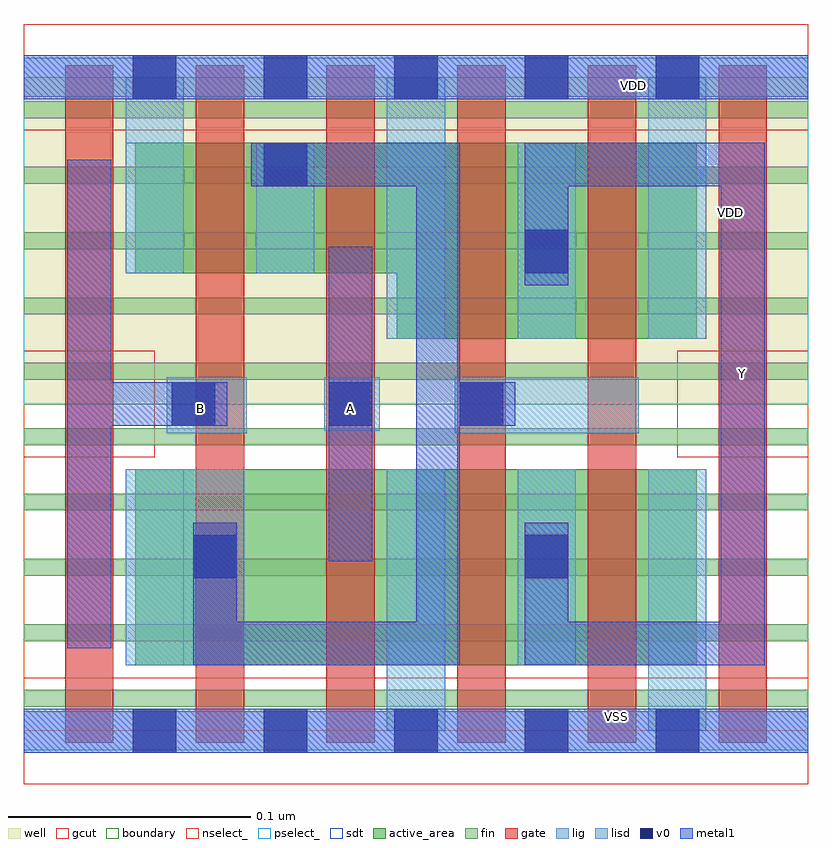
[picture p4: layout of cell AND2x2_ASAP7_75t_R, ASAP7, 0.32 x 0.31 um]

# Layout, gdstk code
import gdstk
lib = gdstk.Library(unit=1e-6, precision=2.5e-10)
def R(c, l, rs):  # rectangles x0, y0, x1, y1
    for r in rs: c.add(gdstk.rectangle(r[:2], r[2:], *l))
def A(c, l, x, y, w, h, nx, ny, dx, dy):  # array of equal rectangles
    R(c, l, [(x+i*dx, y+j*dy, x+i*dx+w, y+j*dy+h) for i in range(nx) for j in range(ny)])
def P(c, l, *ps):  # polygons
    for p in ps: c.add(gdstk.Polygon(p, *l))
well = (1, 0)
fin = (2, 0)
gate = (7, 0)
gcut = (10, 0)
active_area = (11, 0)
nselect_ = (12, 0)
pselect_ = (13, 0)
lig = (16, 0)
lisd = (17, 0)
v0 = (18, 0)
metal1 = (19, 0)
sdt = (88, 0)
boundary = (100, 0)

and2x2_asap7_75t_r = lib.new_cell('AND2x2_ASAP7_75t_R')
R(and2x2_asap7_75t_r, well, [(0,0.135,0.324,0.27)])
A(and2x2_asap7_75t_r, fin, 0, 0.01, 0.324, 0.007, 1, 10, 0, 0.027)
A(and2x2_asap7_75t_r, gate, 0.017, -0.005, 0.02, 0.28, 6, 1, 0.054, 0)
R(and2x2_asap7_75t_r, gcut, [(0,-0.022,0.324,0.022), (0,0.113,0.054,0.157), (0.27,0.113,0.324,0.157), (0,0.248,0.324,0.292)])
R(and2x2_asap7_75t_r, active_area, [(0.046,0.027,0.278,0.108)])
P(and2x2_asap7_75t_r, active_area, [(0.278,0.243),(0.046,0.243),(0.046,0.189),(0.154,0.189),(0.154,0.162),(0.278,0.162)])
R(and2x2_asap7_75t_r, nselect_, [(0,0,0.324,0.135)])
R(and2x2_asap7_75t_r, pselect_, [(0,0.135,0.324,0.27)])
R(and2x2_asap7_75t_r, lig, [(0,-0.008,0.324,0.008), (0.059,0.123,0.092,0.146), (0.178,0.123,0.254,0.146), (0.124,0.124,0.147,0.146), (0,0.262,0.324,0.278)])
R(and2x2_asap7_75t_r, lisd, [(0.15,0,0.174,0.108), (0.258,0,0.282,0.108), (0.042,0.027,0.091,0.108), (0.204,0.027,0.228,0.108), (0.15,0.162,0.174,0.27), (0.204,0.162,0.228,0.243), (0.258,0.162,0.282,0.27), (0.042,0.189,0.066,0.27), (0.096,0.189,0.12,0.243)])
A(and2x2_asap7_75t_r, v0, 0.045, -0.009, 0.018, 0.018, 5, 2, 0.054, 0.27)
R(and2x2_asap7_75t_r, v0, [(0.07,0.063,0.088,0.081), (0.207,0.063,0.225,0.081), (0.061,0.126,0.079,0.144), (0.126,0.126,0.144,0.144), (0.18,0.126,0.198,0.144), (0.207,0.189,0.225,0.207), (0.099,0.225,0.117,0.243)])
R(and2x2_asap7_75t_r, metal1, [(0,-0.009,0.324,0.009), (0.126,0.07,0.144,0.2), (0,0.261,0.324,0.279)])
P(and2x2_asap7_75t_r, metal1, [(0.306,0.243),(0.207,0.243),(0.207,0.184),(0.225,0.184),(0.225,0.225),(0.288,0.225),(0.288,0.045),(0.225,0.045),(0.225,0.086),(0.207,0.086),(0.207,0.027),(0.306,0.027)],
  [(0.203,0.144),(0.18,0.144),(0.18,0.243),(0.094,0.243),(0.094,0.225),(0.162,0.225),(0.162,0.045),(0.088,0.045),(0.088,0.086),(0.07,0.086),(0.07,0.027),(0.18,0.027),(0.18,0.126),(0.203,0.126)],
  [(0.084,0.144),(0.036,0.144),(0.036,0.236),(0.018,0.236),(0.018,0.034),(0.036,0.034),(0.036,0.126),(0.084,0.126)])
A(and2x2_asap7_75t_r, sdt, 0.15, 0.027, 0.024, 0.081, 3, 2, 0.054, 0.135)
R(and2x2_asap7_75t_r, sdt, [(0.042,0.027,0.066,0.108), (0.042,0.189,0.066,0.243), (0.096,0.189,0.12,0.243)])
R(and2x2_asap7_75t_r, boundary, [(0,0,0.324,0.27)])
and2x2_asap7_75t_r.add(gdstk.Label('VSS', (0.361,0.213), layer=3, texttype=251))
and2x2_asap7_75t_r.add(gdstk.Label('VDD', (0.292,0.214), layer=1, texttype=251))
and2x2_asap7_75t_r.add(gdstk.Label('B', (0.073,0.133), layer=19, texttype=251))
and2x2_asap7_75t_r.add(gdstk.Label('A', (0.135,0.133), layer=19, texttype=251))
and2x2_asap7_75t_r.add(gdstk.Label('Y', (0.297,0.1475), layer=19, texttype=251))
and2x2_asap7_75t_r.add(gdstk.Label('VDD', (0.252,0.2665), layer=19, texttype=251))
and2x2_asap7_75t_r.add(gdstk.Label('VSS', (0.245,0.006), layer=19, texttype=251))

lib.write_gds('AND2x2_ASAP7_75t_R.gds')
